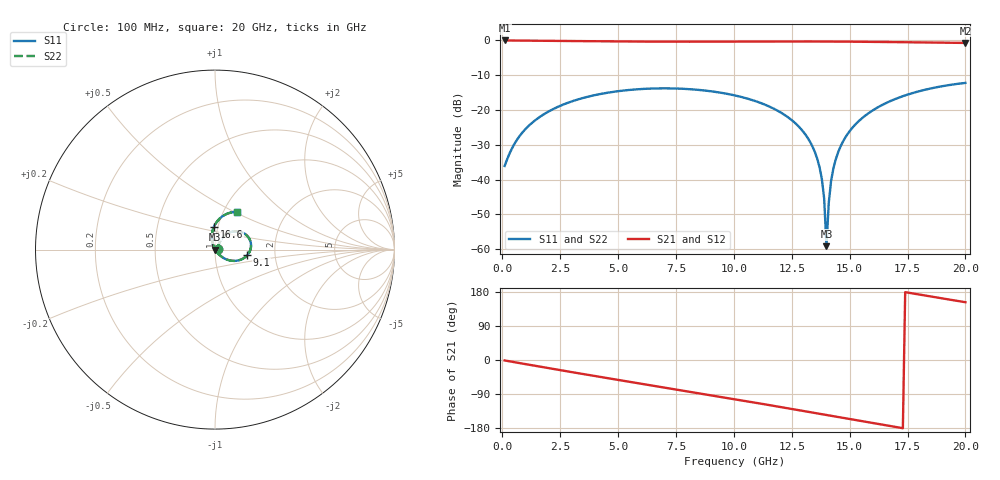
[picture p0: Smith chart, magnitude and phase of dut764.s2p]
! Touchstone file exported from HFSS 2026.1.0
!  File:  C:/ffzhzh/LocalFiles/Ansys_Project_Files/temp_train_TSV_RDL_764_1783208200_55132.aedt
!  Generated:  07:44:42 AM Jul  5, 2026
!  Design:  TSV_RDL
!  Project:  temp_train_TSV_RDL_764_1783208200_55132
! Variables:
!  h_bsmrdl = 4.67um
!  h_ox = 20um
!  h_rdl = 5um
!  h_sub = 89.42um
!  h_tmrdl = 3.53um
!  h_tsv = 89.42um
!  h_via = 3um
!  l_bsmrdl = 334.97um
!  l_sub = 3135.25um
!  l_tmrdl = 399.24um
!  m_sub = 200um
!  pitch = 34.31um
!  r_tsv = 10.29um
!  s_tmrdl = 10um
!  w_bsmrdl = 28.53um
!  w_sub = 500um
!  w_tmrdl = 15.93um
!  x_tsv_center1 = 407.205um
!  x_tsv_center2 = 770.705um
!  x_tsv_center3 = 1185.875um
!  x_tsv_center4 = 1549.375um
!  x_tsv_center5 = 1964.545um
!  x_tsv_center6 = 2328.045um
# GHz S MA R 50.000000
! Terminal data exported
! Port[1] = TM_RDL1_1_T1
! Port[2] = TM_RDL5_1_T1
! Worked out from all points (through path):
!   200 points, 100 MHz to 20 GHz, reference 50 ohm
!   highest |S21| = -0.13 dB at 100 MHz (marker M1); lowest = -0.8 dB at 20 GHz (marker M2)
!   group delay of S21, straight-line fit = 28.7 ps
!   lowest |S11| = -59.1 dB at 14 GHz (marker M3), VSWR 1.00, Z = 50.1 + j0.02 ohm
!   |S11| at or under -10 dB: start of sweep to end of sweep
!   |S22| runs from -57.7 to -12.3 dB; largest |S21 - S12| = 5.5e-14
!   S11 on the Smith chart (normalised r, x): 100 MHz: 1.03, +0.01; 9.1 GHz: 1.44, -0.09; 16.6 GHz: 0.96, +0.24; 20 GHz: 1.16, +0.52
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0.1  0.01564 22.2  0.9856 -1.2  0.9856 -1.2  0.01564 22.2
! Gamma 0 0 0 0
! Port Impedance 50 0 50 0
0.6  0.0357 53.9  0.9816 -6.6  0.9816 -6.6  0.0357 53.9
1.3  0.06566 58.3  0.9781 -14.1  0.9781 -14.1  0.06566 58.3
3.5  0.1481 43.5  0.964 -37.2  0.964 -37.2  0.1481 43.5
6.8  0.2028 12.5  0.9475 -70.7  0.9475 -70.7  0.2028 12.5
9.1  0.1827 -9.8  0.9471 -93.9  0.9471 -93.9  0.1827 -9.8
10.1  0.1591 -19.7  0.949 -104.1  0.949 -104.1  0.1591 -19.6
12.2  0.08415 -40.6  0.9529 -126.0  0.9529 -126.0  0.08412 -40.5
12.9  0.05306 -47.4  0.953 -133.4  0.953 -133.4  0.05303 -47.1
13.4  0.02957 -51.6  0.9525 -138.7  0.9525 -138.7  0.02954 -51.2
13.6  0.01995 -52.7  0.9522 -140.8  0.9522 -140.8  0.01993 -52.1
13.8  0.01025 -51.9  0.9518 -143.0  0.9518 -143.0  0.01023 -50.7
13.9  0.005397 -47.7  0.9515 -144.0  0.9515 -144.0  0.005403 -45.4
14  0.00111 10.3  0.9512 -145.1  0.9512 -145.1  0.001299 15.1
14.1  0.004677 106.2  0.9509 -146.2  0.9509 -146.2  0.004766 103.9
14.2  0.009565 111.8  0.9506 -147.2  0.9506 -147.2  0.00963 110.6
14.4  0.01947 112.9  0.9499 -149.4  0.9499 -149.4  0.01952 112.3
14.6  0.02942 111.9  0.9491 -151.5  0.9491 -151.5  0.02946 111.5
15.4  0.06911 104.8  0.9449 -160.0  0.9449 -160.0  0.06916 104.6
16.6  0.1262 92.9  0.9363 -172.7  0.9363 -172.7  0.1262 92.8
16.7  0.1307 91.9  0.9355 -173.7  0.9355 -173.7  0.1307 91.8
20  0.2429 59.4  0.9084 152.5  0.9084 152.5  0.243 59.4
